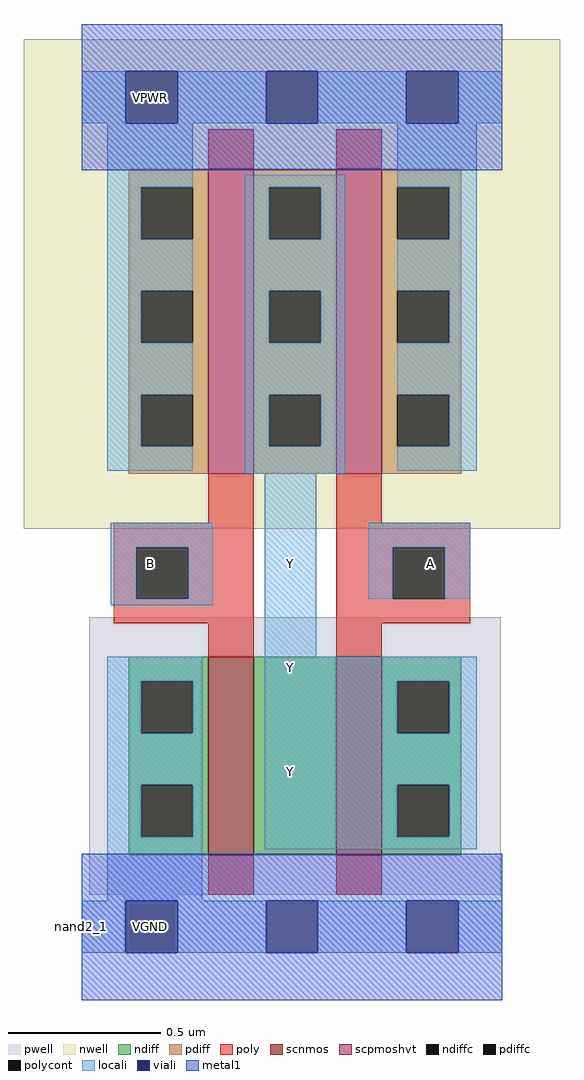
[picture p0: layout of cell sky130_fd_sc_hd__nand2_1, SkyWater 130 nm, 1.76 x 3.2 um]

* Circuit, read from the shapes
.subckt sky130_fd_sc_hd__nand2_1 VGND VPWR VPB VNB A Y B
XM1 n1 B VGND VNB sky130_fd_pr__nfet_01v8 w=0.65 l=0.15
XM2 Y A n1 VNB sky130_fd_pr__nfet_01v8 w=0.65 l=0.15
XM3 Y B VPWR VPB sky130_fd_pr__pfet_01v8_hvt w=1 l=0.15
XM4 VPWR A Y VPB sky130_fd_pr__pfet_01v8_hvt w=1 l=0.15
.ends

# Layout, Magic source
magic
tech sky130B
magscale 1 2
<< nwell >>
rect -38 221 314 542
<< pwell >>
rect 5 -19 275 163
rect 28 -57 62 -19
<< scnmos >>
rect 83 7 113 137
rect 167 7 197 137
<< scpmoshvt >>
rect 83 257 113 457
rect 167 257 197 457
<< ndiff >>
rect 31 121 83 137
rect 31 87 39 121
rect 73 87 83 121
rect 31 53 83 87
rect 31 19 39 53
rect 73 19 83 53
rect 31 7 83 19
rect 113 7 167 137
rect 197 121 249 137
rect 197 87 207 121
rect 241 87 249 121
rect 197 53 249 87
rect 197 19 207 53
rect 241 19 249 53
rect 197 7 249 19
<< pdiff >>
rect 31 445 83 457
rect 31 411 39 445
rect 73 411 83 445
rect 31 377 83 411
rect 31 343 39 377
rect 73 343 83 377
rect 31 309 83 343
rect 31 275 39 309
rect 73 275 83 309
rect 31 257 83 275
rect 113 445 167 457
rect 113 411 123 445
rect 157 411 167 445
rect 113 377 167 411
rect 113 343 123 377
rect 157 343 167 377
rect 113 309 167 343
rect 113 275 123 309
rect 157 275 167 309
rect 113 257 167 275
rect 197 445 249 457
rect 197 411 207 445
rect 241 411 249 445
rect 197 377 249 411
rect 197 343 207 377
rect 241 343 249 377
rect 197 309 249 343
rect 197 275 207 309
rect 241 275 249 309
rect 197 257 249 275
<< ndiffc >>
rect 39 87 73 121
rect 39 19 73 53
rect 207 87 241 121
rect 207 19 241 53
<< pdiffc >>
rect 39 411 73 445
rect 39 343 73 377
rect 39 275 73 309
rect 123 411 157 445
rect 123 343 157 377
rect 123 275 157 309
rect 207 411 241 445
rect 207 343 241 377
rect 207 275 241 309
<< poly >>
rect 83 457 113 483
rect 167 457 197 483
rect 83 225 113 257
rect 21 209 113 225
rect 21 175 36 209
rect 70 175 113 209
rect 21 159 113 175
rect 83 137 113 159
rect 167 225 197 257
rect 167 209 255 225
rect 167 175 204 209
rect 238 175 255 209
rect 167 159 255 175
rect 167 137 197 159
rect 83 -19 113 7
rect 167 -19 197 7
<< polycont >>
rect 36 175 70 209
rect 204 175 238 209
<< locali >>
rect 0 487 29 521
rect 63 487 121 521
rect 155 487 213 521
rect 247 487 276 521
rect 17 445 73 487
rect 17 411 39 445
rect 17 377 73 411
rect 17 343 39 377
rect 17 309 73 343
rect 17 275 39 309
rect 17 259 73 275
rect 107 445 173 453
rect 107 411 123 445
rect 157 411 173 445
rect 107 377 173 411
rect 107 343 123 377
rect 157 343 173 377
rect 107 309 173 343
rect 107 275 123 309
rect 157 275 173 309
rect 107 257 173 275
rect 207 445 259 487
rect 241 411 259 445
rect 207 377 259 411
rect 241 343 259 377
rect 207 309 259 343
rect 241 275 259 309
rect 207 259 259 275
rect 19 209 86 225
rect 19 175 36 209
rect 70 175 86 209
rect 19 171 86 175
rect 120 137 154 257
rect 188 209 255 225
rect 188 175 204 209
rect 238 175 255 209
rect 17 121 79 137
rect 17 87 39 121
rect 73 87 79 121
rect 17 53 79 87
rect 17 19 39 53
rect 73 19 79 53
rect 17 -23 79 19
rect 120 121 259 137
rect 120 87 207 121
rect 241 87 259 121
rect 120 53 259 87
rect 120 19 207 53
rect 241 19 259 53
rect 120 11 259 19
rect 0 -57 29 -23
rect 63 -57 121 -23
rect 155 -57 213 -23
rect 247 -57 276 -23
<< viali >>
rect 29 487 63 521
rect 121 487 155 521
rect 213 487 247 521
rect 29 -57 63 -23
rect 121 -57 155 -23
rect 213 -57 247 -23
<< metal1 >>
rect 0 521 276 552
rect 0 487 29 521
rect 63 487 121 521
rect 155 487 213 521
rect 247 487 276 521
rect 0 456 276 487
rect 0 -23 276 8
rect 0 -57 29 -23
rect 63 -57 121 -23
rect 155 -57 213 -23
rect 247 -57 276 -23
rect 0 -88 276 -57
<< labels >>
rlabel comment s 0 -40 0 -40 4 nand2_1
flabel metal1 s 28 -57 62 -23 0 FreeSans 200 0 0 0 VGND
port 2 nsew
flabel metal1 s 28 487 62 521 0 FreeSans 200 0 0 0 VPWR
port 3 nsew
flabel nwell s 28 487 62 521 0 FreeSans 200 0 0 0 VPB
port 5 nsew
flabel pwell s 28 -57 62 -23 0 FreeSans 200 0 0 0 VNB
port 6 nsew
flabel locali s 120 45 154 79 0 FreeSans 250 0 0 0 Y
port 8 nsew
flabel locali s 120 113 154 147 0 FreeSans 250 0 0 0 Y
port 8 nsew
flabel locali s 120 181 154 215 0 FreeSans 250 0 0 0 Y
port 8 nsew
flabel locali s 28 181 62 215 0 FreeSans 250 0 0 0 B
port 9 nsew
flabel locali s 212 181 246 215 0 FreeSans 250 0 0 0 A
port 7 nsew
<< properties >>
string FIXED_BBOX 0 -40 276 504
string path 0.000 -1.000 6.900 -1.000 
<< end >>
